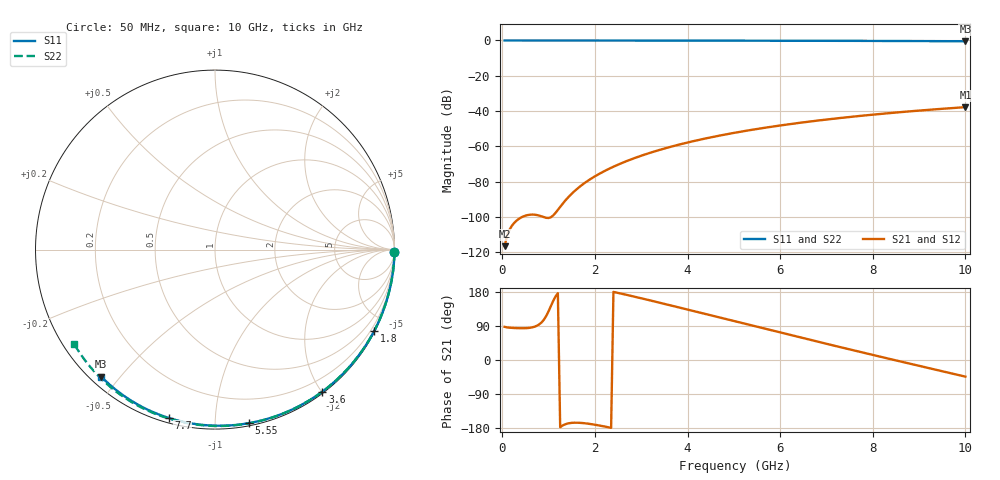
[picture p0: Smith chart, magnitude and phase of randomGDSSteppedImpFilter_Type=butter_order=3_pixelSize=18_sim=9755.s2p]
! freq	dB(S11)	phase(S11)	dB(S12)	phase(S12)
!  dB(S21)	phase(S21)	dB(S22)	phase(S22)
!S-par simulation data
#  GHz  S  DB  R 50
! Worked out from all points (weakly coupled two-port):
!   200 points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, 50 MHz to 10 GHz, reference 50 ohm
!   highest |S21| = -37.82 dB at 10 GHz (marker M1); lowest = -116.6 dB at 50 MHz (marker M2)
!   lowest |S11| = -0.4 dB at 10 GHz (marker M3), VSWR 38.87, Z = 1.54 - j22.3 ohm
!   |S11| at or under -10 dB: nowhere
!   |S22| runs from -0.5 to 0.0 dB; largest |S21 - S12| = 0
!   S11 on the Smith chart (normalised r, x): 50 MHz: open; 1.8 GHz: 0.04, -4.16; 3.6 GHz: 0.02, -2.01; 5.55 GHz: 0.02, -1.21; 7.7 GHz: 0.02, -0.76; 10 GHz: 0.03, -0.45
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0.05  -0.00 -0.8  -116.64 87.5  -116.64 87.5  -0.00 -0.9
0.45  -0.01 -6.9  -99.81 83.8  -99.81 83.8  -0.01 -7.6
0.9  -0.02 -13.6  -100.20 106.7  -100.20 106.7  -0.02 -15.2
1.3  -0.02 -19.6  -92.64 -173.0  -92.64 -173.0  -0.03 -21.9
1.75  -0.03 -26.3  -81.36 -166.6  -81.36 -166.6  -0.04 -29.3
1.8  -0.03 -27.0  -80.41 -167.2  -80.41 -167.2  -0.04 -30.1
1.85  -0.04 -27.8  -79.51 -168.0  -79.51 -168.0  -0.04 -30.9
2.05  -0.04 -30.7  -76.27 -171.8  -76.27 -171.8  -0.04 -34.2
2.2  -0.04 -32.9  -74.14 -175.3  -74.14 -175.3  -0.05 -36.6
2.55  -0.05 -38.0  -69.85 175.6  -69.85 175.6  -0.05 -42.3
2.95  -0.06 -43.7  -65.81 164.4  -65.81 164.4  -0.06 -48.6
3.4  -0.07 -50.1  -62.03 151.1  -62.03 151.1  -0.07 -55.6
3.6  -0.07 -52.9  -60.54 145.1  -60.54 145.1  -0.08 -58.7
4.3  -0.09 -62.5  -56.07 124.0  -56.07 124.0  -0.10 -69.3
5.05  -0.11 -72.5  -52.18 101.2  -52.18 101.2  -0.12 -80.3
5.55  -0.13 -78.9  -49.98 86.1  -49.98 86.1  -0.14 -87.4
6.1  -0.15 -85.9  -47.84 69.5  -47.84 69.5  -0.17 -95.1
6.7  -0.18 -93.4  -45.77 51.6  -45.77 51.6  -0.20 -103.2
7.7  -0.24 -105.4  -42.85 22.1  -42.85 22.1  -0.27 -116.5
8.35  -0.29 -113.0  -41.22 3.3  -41.22 3.3  -0.32 -125.0
9.2  -0.36 -122.8  -39.34 -21.1  -39.34 -21.1  -0.40 -135.9
10  -0.45 -131.9  -37.82 -43.9  -37.82 -43.9  -0.49 -146.2
